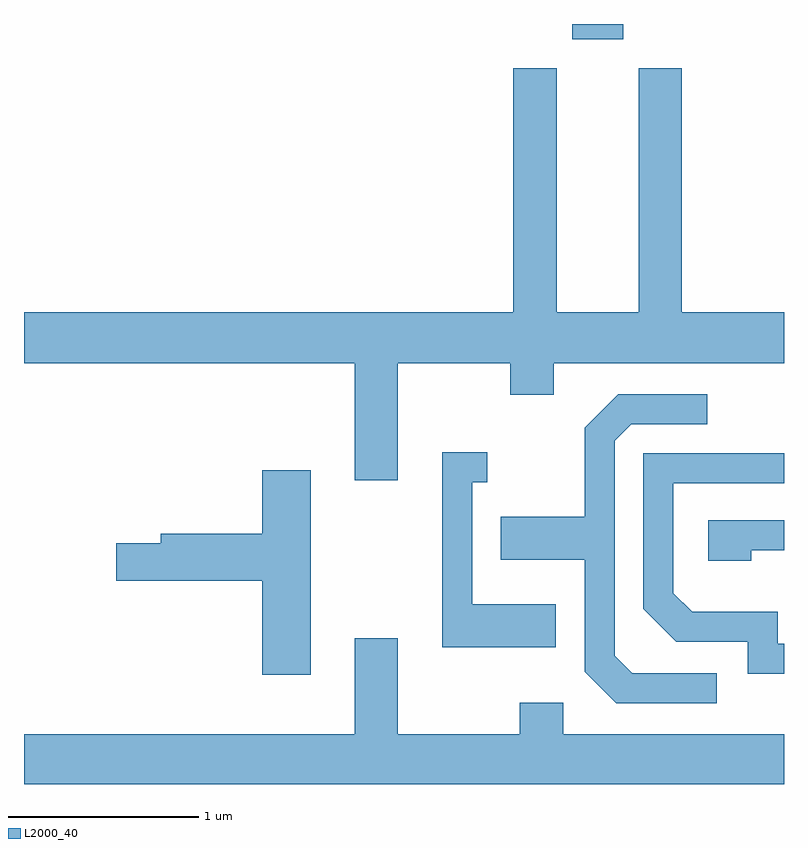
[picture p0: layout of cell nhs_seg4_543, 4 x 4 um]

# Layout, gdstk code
import gdstk
lib = gdstk.Library(unit=1e-6, precision=1e-09)
def R(c, l, rs):  # rectangles x0, y0, x1, y1
    for r in rs: c.add(gdstk.rectangle(r[:2], r[2:], *l))
def P(c, l, *ps):  # polygons
    for p in ps: c.add(gdstk.Polygon(p, *l))
L2000_40 = (2000, 40)

nhs_seg4_543 = lib.new_cell('nhs_seg4_543')
R(nhs_seg4_543, L2000_40, [(202.496,1391.901,202.764,1391.982)])
P(nhs_seg4_543, L2000_40, [(201.579,1390.196),(202.171,1390.196),(202.171,1390.031),(202.399,1390.031),(202.399,1390.196),(203.611,1390.196),(203.611,1390.464),(203.074,1390.464),(203.074,1391.749),(202.846,1391.749),(202.846,1390.464),(202.414,1390.464),(202.414,1391.749),(202.186,1391.749),(202.186,1390.464),(199.611,1390.464),(199.611,1390.196),(201.351,1390.196),(201.351,1389.581),(201.579,1389.581)],
  [(203.258,1388.564),(202.812,1388.564),(202.719,1388.657),(202.719,1389.789),(202.807,1389.876),(203.208,1389.876),(203.208,1390.034),(202.739,1390.034),(202.561,1389.857),(202.561,1389.389),(202.121,1389.389),(202.121,1389.161),(202.561,1389.161),(202.561,1388.574),(202.729,1388.406),(203.258,1388.406)],
  [(202.409,1388.929),(201.969,1388.929),(201.969,1389.571),(202.048,1389.571),(202.048,1389.729),(201.811,1389.729),(201.811,1388.701),(202.409,1388.701)],
  [(203.611,1388.719),(203.579,1388.719),(203.579,1388.889),(203.127,1388.889),(203.029,1388.987),(203.029,1389.566),(203.611,1389.566),(203.611,1389.724),(202.871,1389.724),(202.871,1388.904),(203.044,1388.731),(203.421,1388.731),(203.421,1388.561),(203.611,1388.561)],
  [(201.119,1389.634),(200.866,1389.634),(200.866,1389.299),(200.331,1389.299),(200.331,1389.249),(200.096,1389.249),(200.096,1389.051),(200.866,1389.051),(200.866,1388.556),(201.119,1388.556)],
  [(203.439,1389.211),(203.611,1389.211),(203.611,1389.369),(203.211,1389.369),(203.211,1389.156),(203.439,1389.156)],
  [(203.611,1388.244),(202.449,1388.244),(202.449,1388.409),(202.221,1388.409),(202.221,1388.244),(201.579,1388.244),(201.579,1388.749),(201.351,1388.749),(201.351,1388.244),(199.611,1388.244),(199.611,1387.982),(203.611,1387.982)])

lib.write_gds('nhs_seg4_543.gds')
